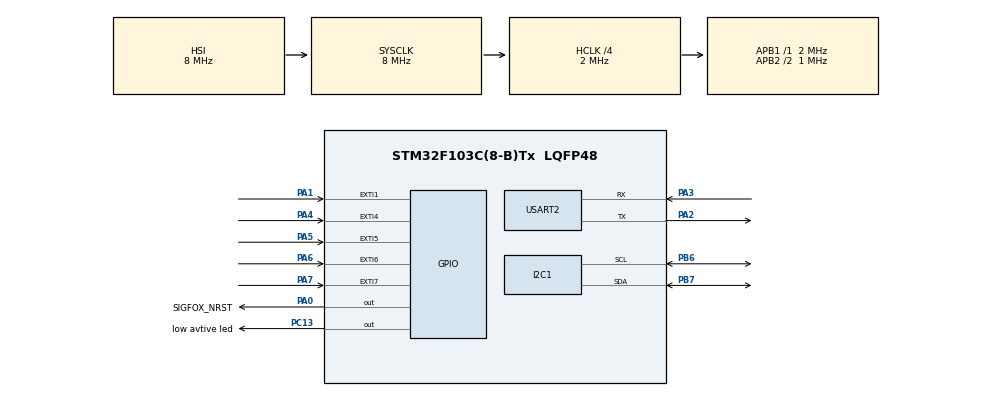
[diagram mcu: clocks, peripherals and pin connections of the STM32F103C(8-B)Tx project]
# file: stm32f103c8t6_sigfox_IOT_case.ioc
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Dma.Request0=USART2_RX
Dma.USART2_RX.0.Direction=DMA_PERIPH_TO_MEMORY
Dma.USART2_RX.0.Instance=DMA1_Channel6
Dma.USART2_RX.0.MemDataAlignment=DMA_MDATAALIGN_BYTE
Dma.USART2_RX.0.MemInc=DMA_MINC_ENABLE
Dma.USART2_RX.0.Mode=DMA_NORMAL
Dma.USART2_RX.0.PeriphDataAlignment=DMA_PDATAALIGN_BYTE
Dma.USART2_RX.0.PeriphInc=DMA_PINC_DISABLE
Dma.USART2_RX.0.Priority=DMA_PRIORITY_LOW
Mcu.Family=STM32F1
Mcu.Name=STM32F103C(8-B)Tx
Mcu.Package=LQFP48
NVIC.DMA1_Channel6_IRQn=true\:1\:0\:true\:false\:true\:false
NVIC.EXTI1_IRQn=true\:2\:0\:true\:false\:true\:true
NVIC.EXTI4_IRQn=true\:2\:0\:true\:false\:true\:true
NVIC.EXTI9_5_IRQn=true\:2\:0\:true\:false\:true\:true
NVIC.PriorityGroup=NVIC_PRIORITYGROUP_4
NVIC.RTC_Alarm_IRQn=true\:2\:0\:true\:false\:true\:true
NVIC.USART2_IRQn=true\:0\:0\:true\:false\:true\:true
PA0-WKUP.GPIO_Label=SIGFOX_NRST
PA0-WKUP.PinState=GPIO_PIN_SET
PA0-WKUP.Signal=GPIO_Output
PA1.GPIO_ModeDefaultEXTI=GPIO_MODE_IT_FALLING
PA1.GPIO_PuPd=GPIO_PULLUP
PA1.Signal=GPXTI1
PA13.Mode=Serial_Wire
PA13.Signal=SYS_JTMS-SWDIO
PA14.Mode=Serial_Wire
PA14.Signal=SYS_JTCK-SWCLK
PA2.Mode=Asynchronous
PA2.Signal=USART2_TX
PA3.Mode=Asynchronous
PA3.Signal=USART2_RX
PA4.GPIO_ModeDefaultEXTI=GPIO_MODE_IT_FALLING
PA4.GPIO_PuPd=GPIO_PULLUP
PA4.Signal=GPXTI4
PA5.GPIO_ModeDefaultEXTI=GPIO_MODE_IT_FALLING
PA5.GPIO_PuPd=GPIO_PULLUP
PA5.Signal=GPXTI5
PA6.GPIO_ModeDefaultEXTI=GPIO_MODE_IT_FALLING
PA6.GPIO_PuPd=GPIO_PULLUP
PA6.Signal=GPXTI6
PA7.GPIO_ModeDefaultEXTI=GPIO_MODE_IT_FALLING
PA7.GPIO_PuPd=GPIO_PULLUP
PA7.Signal=GPXTI7
PB6.Mode=I2C
PB6.Signal=I2C1_SCL
PB7.Mode=I2C
PB7.Signal=I2C1_SDA
PC13-TAMPER-RTC.GPIO_Label=low avtive led
PC13-TAMPER-RTC.PinState=GPIO_PIN_SET
PC13-TAMPER-RTC.Signal=GPIO_Output
PC14-OSC32_IN.Mode=LSE-External-Oscillator
PC14-OSC32_IN.Signal=RCC_OSC32_IN
PC15-OSC32_OUT.Mode=LSE-External-Oscillator
PC15-OSC32_OUT.Signal=RCC_OSC32_OUT
ProjectManager.HeapSize=0x200
ProjectManager.StackSize=0x400
ProjectManager.TargetToolchain=MDK-ARM V5
RCC.AHBCLKDivider=RCC_SYSCLK_DIV4
RCC.AHBFreq_Value=2000000
RCC.APB1Freq_Value=2000000
RCC.APB1TimFreq_Value=2000000
RCC.APB2CLKDivider=RCC_HCLK_DIV2
RCC.APB2Freq_Value=1000000
RCC.APB2TimFreq_Value=2000000
RCC.HCLKFreq_Value=2000000
RCC.RTCClockSelection=RCC_RTCCLKSOURCE_LSE
RCC.SYSCLKFreq_VALUE=8000000
RCC.USBFreq_Value=8000000
RTC.AutoPrediv=RTC_AUTO_1_SECOND
RTC.Format=RTC_FORMAT_BIN
USART2.VirtualMode=VM_ASYNC
VP_RTC_No_RTC_Output.Mode=RTC_OUT_NO
VP_RTC_VS_RTC_Activate.Mode=RTC_Enabled
board=custom

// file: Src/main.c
/**
  ******************************************************************************
  * @file           : main.c
  * @brief          : Main program body
  ******************************************************************************
  ** This notice applies to any and all portions of this file
  * that are not between comment pairs USER CODE BEGIN and
  * USER CODE END. Other portions of this file, whether
  * inserted by the user or by software development tools
  * are owned by their respective copyright owners.
  *
  * COPYRIGHT(c) 2020 STMicroelectronics
  *
  * Redistribution and use in source and binary forms, with or without modification,
  * are permitted provided that the following conditions are met:
  *   1. Redistributions of source code must retain the above copyright notice,
  *      this list of conditions and the following disclaimer.
  *   2. Redistributions in binary form must reproduce the above copyright notice,
  *      this list of conditions and the following disclaimer in the documentation
  *      and/or other materials provided with the distribution.
  *   3. Neither the name of STMicroelectronics nor the names of its contributors
  *      may be used to endorse or promote products derived from this software
  *      without specific prior written permission.
  *
  * THIS SOFTWARE IS PROVIDED BY THE COPYRIGHT HOLDERS AND CONTRIBUTORS "AS IS"
  * AND ANY EXPRESS OR IMPLIED WARRANTIES, INCLUDING, BUT NOT LIMITED TO, THE
  * IMPLIED WARRANTIES OF MERCHANTABILITY AND FITNESS FOR A PARTICULAR PURPOSE ARE
  * DISCLAIMED. IN NO EVENT SHALL THE COPYRIGHT HOLDER OR CONTRIBUTORS BE LIABLE
  * FOR ANY DIRECT, INDIRECT, INCIDENTAL, SPECIAL, EXEMPLARY, OR CONSEQUENTIAL
  * DAMAGES (INCLUDING, BUT NOT LIMITED TO, PROCUREMENT OF SUBSTITUTE GOODS OR
  * SERVICES; LOSS OF USE, DATA, OR PROFITS; OR BUSINESS INTERRUPTION) HOWEVER
  * CAUSED AND ON ANY THEORY OF LIABILITY, WHETHER IN CONTRACT, STRICT LIABILITY,
  * OR TORT (INCLUDING NEGLIGENCE OR OTHERWISE) ARISING IN ANY WAY OUT OF THE USE
  * OF THIS SOFTWARE, EVEN IF ADVISED OF THE POSSIBILITY OF SUCH DAMAGE.
  *
  ******************************************************************************
  */
#include "main.h"
#include "stm32f1xx_hal.h"

/* USER CODE BEGIN Includes */
/**
  @brief PA3:USART2_Rx
         PA2:USART2_Tx
         PA0:SIGFOX_NRST, output
         PA1:EXTI1, falling, internal pull-up
         PA4:EXTI4, falling, internal pull-up
         PA5:EXTI5, falling, internal pull-up
         PA6:EXTI6, falling, internal pull-up
         PA7:EXTI7, falling, internal pull-up

         If internal 40kHz is used for RTC,
         then hrtc.Init.AsynchPrediv should be callibrated instead of RTC_AUTO_1_SECOND
         because internal RC 40kHz is not accurate.
*/
#define SKIP_OK 0 //if==1, then not waiting for OK response.
/* USER CODE END Includes */

I2C_HandleTypeDef hi2c1;

RTC_HandleTypeDef hrtc;

UART_HandleTypeDef huart2;
DMA_HandleTypeDef hdma_usart2_rx;

/* USER CODE BEGIN PV */
/* Private variables ---------------------------------------------------------*/

/** @brief using printf() as HAL_UART_Transmit() */
#ifdef __GNUC__
/* With GCC/RAISONANCE, small printf (option LD Linker->Libraries->Small printf
 set to 'Yes') calls __io_putchar() */
  #define PUTCHAR_PROTOTYPE int __io_putchar(int ch)
#else
  #define PUTCHAR_PROTOTYPE int fputc(int ch, FILE *f)
#endif /* __GNUC__ */
PUTCHAR_PROTOTYPE{
 /* Place your implementation of fputc here */
 /* e.g. write a character to the USART1 and Loop until the end of transmission */
  HAL_UART_Transmit(&huart2, (uint8_t *)&ch, 1, 0xFF);
//HAL_UART_Transmit(UART_HandleTypeDef* huart, uint8_t pData, uint16_t Size, uint32_t Timeout);
  return ch;
}

/* USER CODE END PV */

void SystemClock_Config(void);
static void MX_GPIO_Init(void);
static void MX_DMA_Init(void);
static void MX_USART2_UART_Init(void);
static void MX_RTC_Init(void);
static void MX_I2C1_Init(void);

/* USER CODE BEGIN PFP */
/* Private function prototypes -----------------------------------------------*/
void alarm_set_init(void);
int8_t tran_ATCMD(const char* CMD, uint16_t timeout);
int8_t get_PVD(void);
/* USER CODE END PFP */

/* USER CODE BEGIN 0 */
char* ATCMD_PING      = ATCMD_PING_LIT     ;
char* ATCMD_SLEEP     = ATCMD_SLEEP_LIT    ;
char* ATCMD_BAT_OK    = ATCMD_BAT_OK_LIT   ;
char* ATCMD_BAT_LOW   = ATCMD_BAT_LOW_LIT  ;
char* ATCMD_PA1_EXTI1 = ATCMD_PA1_EXTI1_LIT;
char* ATCMD_PA4_EXTI4 = ATCMD_PA4_EXTI4_LIT;
char* ATCMD_PA5_EXTI5 = ATCMD_PA5_EXTI5_LIT;
char* ATCMD_PA6_EXTI6 = ATCMD_PA6_EXTI6_LIT;  //_LIT stands for literal.
char* ATCMD_PA7_EXTI7 = ATCMD_PA7_EXTI7_LIT;  //ATCMD_XXX_LIT defined in main.h
/* USER CODE END 0 */

int main(void)
{

  /* MCU Configuration----------------------------------------------------------*/

  /* Reset of all peripherals, Initializes the Flash interface and the Systick. */
  HAL_Init();

  /* Configure the system clock */
  SystemClock_Config();

  /* Initialize all configured peripherals */
  MX_GPIO_Init();
  MX_DMA_Init();
  MX_USART2_UART_Init();
  MX_RTC_Init();
  MX_I2C1_Init();

  /* Infinite loop */
  /* USER CODE BEGIN WHILE */
  HAL_GPIO_WritePin(GPIOC, GPIO_PIN_13, LED_ON);

  //without this delay, uart may not work with VDD rising from 1.1V to 3.3V fast
  HAL_Delay(1000);//connector bouncing when connecting causes unstable VDD
  tran_ATCMD(ATCMD_PING, ATCMD_TO_GEN);
  tran_ATCMD(ATCMD_SLEEP, ATCMD_TO_GEN);
  alarm_set_init();
  HAL_GPIO_WritePin(GPIOC, GPIO_PIN_13, LED_OFF);
  HAL_PWR_EnterSTOPMode(PWR_LOWPOWERREGULATOR_ON, PWR_STOPENTRY_WFI);//WFI:wait for interrupt
  while (1)
  {
  /* USER CODE END WHILE */

  }

}

void SystemClock_Config(void)
{

  RCC_OscInitTypeDef RCC_OscInitStruct;
  RCC_ClkInitTypeDef RCC_ClkInitStruct;
  RCC_PeriphCLKInitTypeDef PeriphClkInit;

    /**Initializes the CPU, AHB and APB busses clocks
    */
  RCC_OscInitStruct.OscillatorType = RCC_OSCILLATORTYPE_HSI|RCC_OSCILLATORTYPE_LSE;
  RCC_OscInitStruct.LSEState = RCC_LSE_ON;
  RCC_OscInitStruct.HSIState = RCC_HSI_ON;
  RCC_OscInitStruct.HSICalibrationValue = 16;
  RCC_OscInitStruct.PLL.PLLState = RCC_PLL_NONE;
  if (HAL_RCC_OscConfig(&RCC_OscInitStruct) != HAL_OK)
  {
    _Error_Handler(__FILE__, __LINE__);
  }

    /**Initializes the CPU, AHB and APB busses clocks
    */
  RCC_ClkInitStruct.ClockType = RCC_CLOCKTYPE_HCLK|RCC_CLOCKTYPE_SYSCLK
                              |RCC_CLOCKTYPE_PCLK1|RCC_CLOCKTYPE_PCLK2;
  RCC_ClkInitStruct.SYSCLKSource = RCC_SYSCLKSOURCE_HSI;
  RCC_ClkInitStruct.AHBCLKDivider = RCC_SYSCLK_DIV4;
  RCC_ClkInitStruct.APB1CLKDivider = RCC_HCLK_DIV1;
  RCC_ClkInitStruct.APB2CLKDivider = RCC_HCLK_DIV2;

  if (HAL_RCC_ClockConfig(&RCC_ClkInitStruct, FLASH_LATENCY_0) != HAL_OK)
  {
    _Error_Handler(__FILE__, __LINE__);
  }

  PeriphClkInit.PeriphClockSelection = RCC_PERIPHCLK_RTC;
  PeriphClkInit.RTCClockSelection = RCC_RTCCLKSOURCE_LSE;
  if (HAL_RCCEx_PeriphCLKConfig(&PeriphClkInit) != HAL_OK)
  {
    _Error_Handler(__FILE__, __LINE__);
  }

    /**Configure the Systick interrupt time
    */
  HAL_SYSTICK_Config(HAL_RCC_GetHCLKFreq()/1000);

    /**Configure the Systick
    */
  HAL_SYSTICK_CLKSourceConfig(SYSTICK_CLKSOURCE_HCLK);

  /* SysTick_IRQn interrupt configuration */
  HAL_NVIC_SetPriority(SysTick_IRQn, 0, 0);
}

/* I2C1 init function */
static void MX_I2C1_Init(void)
{

  hi2c1.Instance = I2C1;
  hi2c1.Init.ClockSpeed = 100000;
  hi2c1.Init.DutyCycle = I2C_DUTYCYCLE_2;
  hi2c1.Init.OwnAddress1 = 0;
  hi2c1.Init.AddressingMode = I2C_ADDRESSINGMODE_7BIT;
  hi2c1.Init.DualAddressMode = I2C_DUALADDRESS_DISABLE;
  hi2c1.Init.OwnAddress2 = 0;
  hi2c1.Init.GeneralCallMode = I2C_GENERALCALL_DISABLE;
  hi2c1.Init.NoStretchMode = I2C_NOSTRETCH_DISABLE;
  if (HAL_I2C_Init(&hi2c1) != HAL_OK)
  {
    _Error_Handler(__FILE__, __LINE__);
  }

}

/* RTC init function */
static void MX_RTC_Init(void)
{

  RTC_TimeTypeDef sTime;
  RTC_DateTypeDef DateToUpdate;

    /**Initialize RTC Only
    */
  hrtc.Instance = RTC;
  hrtc.Init.AsynchPrediv = RTC_AUTO_1_SECOND;
  hrtc.Init.OutPut = RTC_OUTPUTSOURCE_NONE;
  if (HAL_RTC_Init(&hrtc) != HAL_OK)
  {
    _Error_Handler(__FILE__, __LINE__);
  }

    /**Initialize RTC and set the Time and Date
    */
  sTime.Hours = 0;
  sTime.Minutes = 0;
  sTime.Seconds = 0;

  if (HAL_RTC_SetTime(&hrtc, &sTime, RTC_FORMAT_BIN) != HAL_OK)
  {
    _Error_Handler(__FILE__, __LINE__);
  }

  DateToUpdate.WeekDay = RTC_WEEKDAY_MONDAY;
  DateToUpdate.Month = RTC_MONTH_JANUARY;
  DateToUpdate.Date = 1;
  DateToUpdate.Year = 0;

  if (HAL_RTC_SetDate(&hrtc, &DateToUpdate, RTC_FORMAT_BIN) != HAL_OK)
  {
    _Error_Handler(__FILE__, __LINE__);
  }

}

/* USART2 init function */
static void MX_USART2_UART_Init(void)
{

  huart2.Instance = USART2;
  huart2.Init.BaudRate = 115200;
  huart2.Init.WordLength = UART_WORDLENGTH_8B;
  huart2.Init.StopBits = UART_STOPBITS_1;
  huart2.Init.Parity = UART_PARITY_NONE;
  huart2.Init.Mode = UART_MODE_TX_RX;
  huart2.Init.HwFlowCtl = UART_HWCONTROL_NONE;
  huart2.Init.OverSampling = UART_OVERSAMPLING_16;
  if (HAL_UART_Init(&huart2) != HAL_OK)
  {
    _Error_Handler(__FILE__, __LINE__);
  }

}

static void MX_DMA_Init(void)
{
  /* DMA controller clock enable */
  __HAL_RCC_DMA1_CLK_ENABLE();

  /* DMA interrupt init */
  /* DMA1_Channel6_IRQn interrupt configuration */
  HAL_NVIC_SetPriority(DMA1_Channel6_IRQn, 1, 0);
  HAL_NVIC_EnableIRQ(DMA1_Channel6_IRQn);

}

/** Configure pins as
        * Analog
        * Input
        * Output
        * EVENT_OUT
        * EXTI
        * Free pins are configured automatically as Analog (this feature is enabled through
        * the Code Generation settings)
*/
static void MX_GPIO_Init(void)
{

  GPIO_InitTypeDef GPIO_InitStruct;

  /* GPIO Ports Clock Enable */
  __HAL_RCC_GPIOC_CLK_ENABLE();
  __HAL_RCC_GPIOD_CLK_ENABLE();
  __HAL_RCC_GPIOA_CLK_ENABLE();
  __HAL_RCC_GPIOB_CLK_ENABLE();

  /*Configure GPIO pin Output Level */
  HAL_GPIO_WritePin(low_avtive_led_GPIO_Port, low_avtive_led_Pin, GPIO_PIN_SET);

  /*Configure GPIO pin Output Level */
  HAL_GPIO_WritePin(SIGFOX_NRST_GPIO_Port, SIGFOX_NRST_Pin, GPIO_PIN_SET);

  /*Configure GPIO pin : low_avtive_led_Pin */
  GPIO_InitStruct.Pin = low_avtive_led_Pin;
  GPIO_InitStruct.Mode = GPIO_MODE_OUTPUT_PP;
  GPIO_InitStruct.Pull = GPIO_NOPULL;
  GPIO_InitStruct.Speed = GPIO_SPEED_FREQ_LOW;
  HAL_GPIO_Init(low_avtive_led_GPIO_Port, &GPIO_InitStruct);

  /*Configure GPIO pins : PD0 PD1 */
  GPIO_InitStruct.Pin = GPIO_PIN_0|GPIO_PIN_1;
  GPIO_InitStruct.Mode = GPIO_MODE_ANALOG;
  HAL_GPIO_Init(GPIOD, &GPIO_InitStruct);

  /*Configure GPIO pin : SIGFOX_NRST_Pin */
  GPIO_InitStruct.Pin = SIGFOX_NRST_Pin;
  GPIO_InitStruct.Mode = GPIO_MODE_OUTPUT_PP;
  GPIO_InitStruct.Pull = GPIO_NOPULL;
  GPIO_InitStruct.Speed = GPIO_SPEED_FREQ_LOW;
  HAL_GPIO_Init(SIGFOX_NRST_GPIO_Port, &GPIO_InitStruct);

  /*Configure GPIO pins : PA1 PA4 PA5 PA6
                           PA7 */
  GPIO_InitStruct.Pin = GPIO_PIN_1|GPIO_PIN_4|GPIO_PIN_5|GPIO_PIN_6
                          |GPIO_PIN_7;
  GPIO_InitStruct.Mode = GPIO_MODE_IT_FALLING;
  GPIO_InitStruct.Pull = GPIO_PULLUP;
  HAL_GPIO_Init(GPIOA, &GPIO_InitStruct);

  /*Configure GPIO pins : PB0 PB1 PB2 PB10
                           PB11 PB12 PB13 PB14
                           PB15 PB3 PB4 PB5
                           PB8 PB9 */
  GPIO_InitStruct.Pin = GPIO_PIN_0|GPIO_PIN_1|GPIO_PIN_2|GPIO_PIN_10
                          |GPIO_PIN_11|GPIO_PIN_12|GPIO_PIN_13|GPIO_PIN_14
                          |GPIO_PIN_15|GPIO_PIN_3|GPIO_PIN_4|GPIO_PIN_5
                          |GPIO_PIN_8|GPIO_PIN_9;
  GPIO_InitStruct.Mode = GPIO_MODE_ANALOG;
  HAL_GPIO_Init(GPIOB, &GPIO_InitStruct);

  /*Configure GPIO pins : PA8 PA9 PA10 PA11
                           PA12 PA15 */
  GPIO_InitStruct.Pin = GPIO_PIN_8|GPIO_PIN_9|GPIO_PIN_10|GPIO_PIN_11
                          |GPIO_PIN_12|GPIO_PIN_15;
  GPIO_InitStruct.Mode = GPIO_MODE_ANALOG;
  HAL_GPIO_Init(GPIOA, &GPIO_InitStruct);

  /*Configure peripheral I/O remapping */
  __HAL_AFIO_REMAP_PD01_ENABLE();

  /* EXTI interrupt init*/
  HAL_NVIC_SetPriority(EXTI1_IRQn, 2, 0);
  HAL_NVIC_EnableIRQ(EXTI1_IRQn);

  HAL_NVIC_SetPriority(EXTI4_IRQn, 2, 0);
  HAL_NVIC_EnableIRQ(EXTI4_IRQn);

  HAL_NVIC_SetPriority(EXTI9_5_IRQn, 2, 0);
  HAL_NVIC_EnableIRQ(EXTI9_5_IRQn);

}

/* USER CODE BEGIN 4 */
void alarm_set_init(){
  RTC_AlarmTypeDef alarm;
  alarm.AlarmTime.Hours=0;
  alarm.AlarmTime.Minutes=1;
  alarm.AlarmTime.Seconds=0;
  alarm.Alarm=RTC_ALARM_A; //only 1 alarm available for stm32f103c8
  HAL_RTC_SetAlarm_IT(&hrtc, &alarm, RTC_FORMAT_BIN);
}

/**
  * @brief  Polling PVD from threhold level 0 to 7.
  * @retval return 0~7, corespongind VDD is lower than which level.
  *         return -1 if VDD is higher than every level.
  */
int8_t get_PVD(){
  PWR_PVDTypeDef pvd;
  for(uint8_t lv=0; lv<=7; lv++){
      HAL_Delay(30);
      pvd.Mode=PWR_PVD_MODE_IT_RISING;
      pvd.PVDLevel=lv<<5; //5 is register shift of PLS[2:0] in PWR->CR.
      HAL_PWR_ConfigPVD(&pvd);
      HAL_PWR_EnablePVD();
      if(PWR->CSR&1U<<2) //PWR->CSR[2] is PVD Output. PVDO==1 when VDD is lower, vise versa.
        return lv;
  }
  return -1;  //return -1 if VDD is higher then threshold level 7.
}

/**
  * @brief  Transimit AT command and poll for OK response before timeout.
  * @param  cmd: the AT command to transmit.
  * @param  timeOut: duration polling for OK response, in millisecond.
  * @retval return 0 if OK response detected.
  *         return -1 if no OK response detected.
  * @notes  If timeout then reset sigfox module.
  */
int8_t tran_ATCMD(const char* cmd, uint16_t timeOut){
#if SKIP_OK
  printf("Hi\r\n");
  HAL_Delay(100);
  printf("%s", cmd);
  return 0;
#else
  uint8_t text[30]={'\0'}; //buffer for storing AT response.
  uint32_t preTick;
  if(cmd == ATCMD_PING){ //if trying to wake up sigfox
    printf("a");  //sigfox module wakes up on any of its RX data.
    HAL_Delay(300);
    printf("Hi\r\n");
    HAL_Delay(200);
  }
  do{ //clear receiving buffer
    text[0]='\0';
    HAL_UART_Receive(&huart2, &(text[0]), 1, 0xF); //receive 1 byte from hardware buffer.
  }while(text[0]!='\0');
  HAL_UART_DMAStop(&huart2);
  HAL_UART_Receive_DMA(&huart2, text, 30);
  printf("%s", cmd);
  HAL_Delay(50);
  uint8_t i=0;
  int8_t isOK=-1;
  preTick=HAL_GetTick();
  while(HAL_GetTick()-preTick < timeOut && isOK==-1){ //break either timeout or OK detected
    i=0;
    while(text[i]!='\0' && i<29){ //check for response OK.
      if(text[i]=='O' && text[i+1]=='K'){
        isOK=1;
        break;
      }
      i++;
      HAL_Delay(10);
    }
  }
  HAL_UART_DMAStop(&huart2);
  if(isOK==-1){ //if not responding, then reset sigfox module.
    HAL_GPIO_WritePin(GPIOA, GPIO_PIN_0, RF_NRST_ON);
    HAL_Delay(200);
    HAL_GPIO_WritePin(GPIOA, GPIO_PIN_0, RF_NRST_OFF);
    HAL_Delay(3000);
  }
  return isOK; //return 0 if success
#endif
}
/* USER CODE END 4 */

void _Error_Handler(char *file, int line)
{
  while(1)
  {
  }
}

/************************ (C) COPYRIGHT STMicroelectronics *****END OF FILE****/
